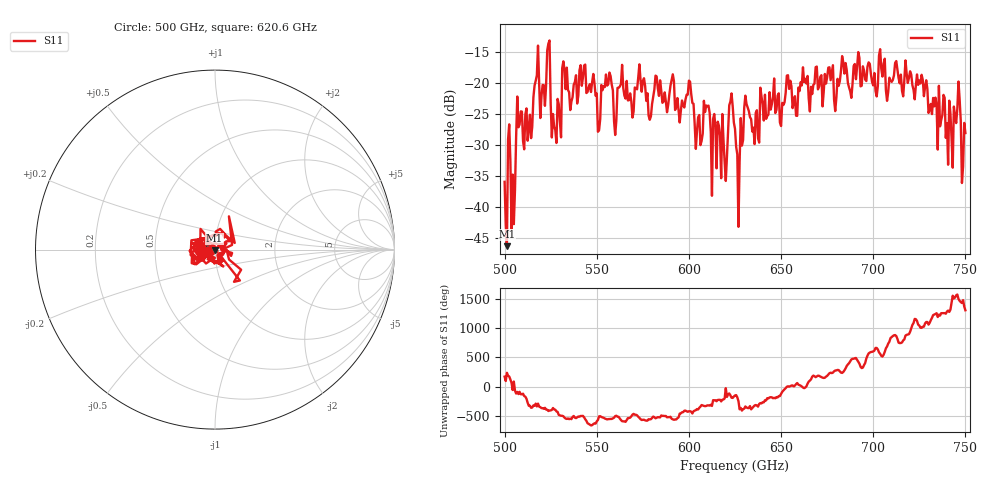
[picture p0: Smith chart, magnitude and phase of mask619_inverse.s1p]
!Created with skrf (http://scikit-rf.org).
# GHz S MA R 50.0
!freq magS11 angS11
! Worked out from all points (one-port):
!   401 points, 500 GHz to 750 GHz, reference 50 ohm
!   lowest |S11| = -46.2 dB at 501.2 GHz (marker M1), VSWR 1.01, Z = 49.7 - j0.407 ohm
!   |S11| at or under -10 dB: start of sweep to end of sweep
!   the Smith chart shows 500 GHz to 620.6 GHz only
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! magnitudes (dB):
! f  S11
! 500 GHz  -35.9
! 501.2 GHz  -46.2
! 503.1 GHz  -32.4
! 504.4 GHz  -34.7
! 507.5 GHz  -27.1
! 513.8 GHz  -25.1
! 517.5 GHz  -18.7
! 520.6 GHz  -20.3
! 523.8 GHz  -13.6
! 526.9 GHz  -27.0
! 531.2 GHz  -17.6
! 542.5 GHz  -19.1
! 550.6 GHz  -27.8
! 562.5 GHz  -20.5
! 593.8 GHz  -22.4
! 600 GHz  -19.6
! 605 GHz  -25.5
! 609.4 GHz  -23.6
! 618.8 GHz  -29.1
! 622.5 GHz  -23.0
! 625 GHz  -27.3
! 626.2 GHz  -31.5
! 631.2 GHz  -23.3
! 636.9 GHz  -24.4
! 656.2 GHz  -24.0
! 687.5 GHz  -21.3
! 718.8 GHz  -19.9
! 750 GHz  -28.0
